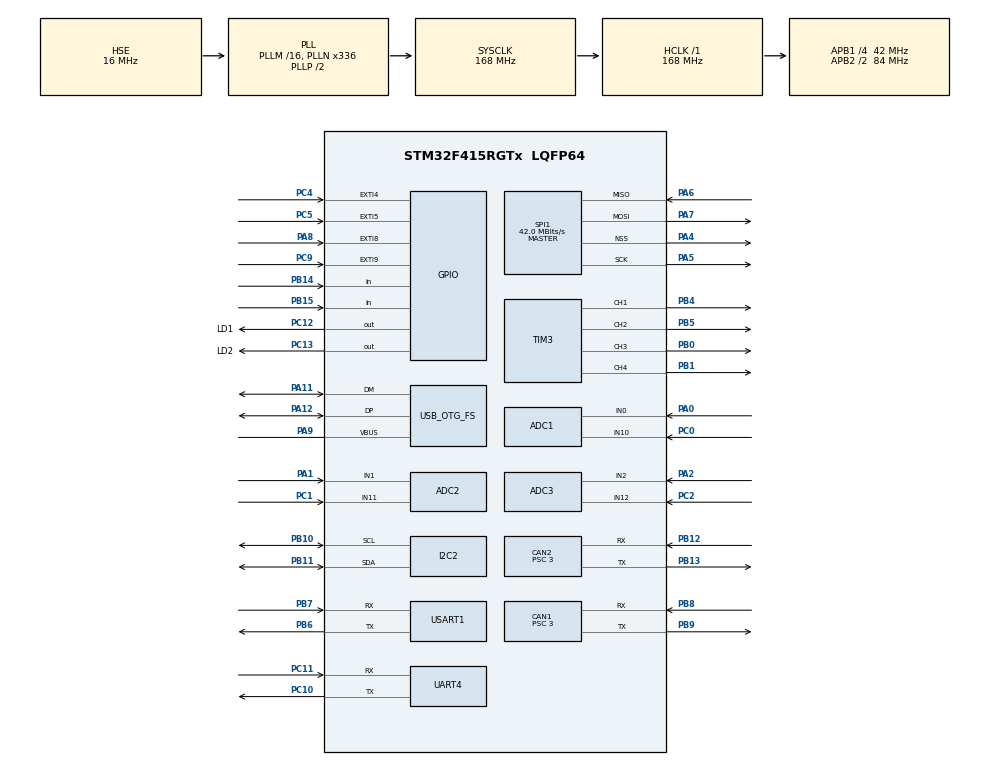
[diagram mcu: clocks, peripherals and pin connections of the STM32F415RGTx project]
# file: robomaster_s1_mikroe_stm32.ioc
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ADC1.Channel-0\#ChannelRegularConversion=ADC_CHANNEL_10
ADC1.ClockPrescaler=ADC_CLOCK_SYNC_PCLK_DIV4
ADC1.NbrOfConversionFlag=1
ADC1.Rank-0\#ChannelRegularConversion=1
ADC1.SamplingTime-0\#ChannelRegularConversion=ADC_SAMPLETIME_3CYCLES
ADC1.master=1
ADC2.Channel-0\#ChannelRegularConversion=ADC_CHANNEL_1
ADC2.ClockPrescaler=ADC_CLOCK_SYNC_PCLK_DIV4
ADC2.NbrOfConversionFlag=1
ADC2.Rank-0\#ChannelRegularConversion=1
ADC2.SamplingTime-0\#ChannelRegularConversion=ADC_SAMPLETIME_3CYCLES
ADC3.Channel-0\#ChannelRegularConversion=ADC_CHANNEL_2
ADC3.ClockPrescaler=ADC_CLOCK_SYNC_PCLK_DIV4
ADC3.NbrOfConversionFlag=1
ADC3.Rank-0\#ChannelRegularConversion=1
ADC3.SamplingTime-0\#ChannelRegularConversion=ADC_SAMPLETIME_3CYCLES
CAN1.BS1=CAN_BS1_11TQ
CAN1.BS2=CAN_BS2_2TQ
CAN1.CalculateTimeQuantum=71.42857142857143
CAN1.Prescaler=3
CAN2.BS1=CAN_BS1_13TQ
CAN2.BS2=CAN_BS2_2TQ
CAN2.CalculateTimeQuantum=71.42857142857143
CAN2.Prescaler=3
Mcu.Family=STM32F4
Mcu.Name=STM32F415RGTx
Mcu.Package=LQFP64
NVIC.CAN1_RX0_IRQn=true\:0\:0\:false\:false\:true\:true\:true
NVIC.CAN1_RX1_IRQn=true\:0\:0\:false\:false\:true\:true\:true
NVIC.CAN1_SCE_IRQn=true\:0\:0\:false\:false\:true\:true\:true
NVIC.CAN1_TX_IRQn=true\:0\:0\:false\:false\:true\:true\:true
NVIC.CAN2_RX0_IRQn=true\:0\:0\:false\:false\:true\:true\:true
NVIC.CAN2_RX1_IRQn=true\:0\:0\:false\:false\:true\:true\:true
NVIC.CAN2_SCE_IRQn=true\:0\:0\:false\:false\:true\:true\:true
NVIC.CAN2_TX_IRQn=true\:0\:0\:false\:false\:true\:true\:true
NVIC.OTG_FS_IRQn=true\:0\:0\:false\:false\:true\:false\:true
NVIC.PriorityGroup=NVIC_PRIORITYGROUP_4
NVIC.TIM1_UP_TIM10_IRQn=true\:0\:0\:false\:false\:true\:false\:true
NVIC.TIM2_IRQn=true\:0\:0\:false\:false\:true\:true\:true
NVIC.TIM3_IRQn=true\:0\:0\:false\:false\:true\:true\:true
NVIC.TimeBase=TIM1_UP_TIM10_IRQn
NVIC.TimeBaseIP=TIM1
PA0-WKUP.Signal=ADCx_IN0
PA1.Signal=ADCx_IN1
PA10.Signal=USB_OTG_FS_ID
PA11.Mode=Device_Only
PA11.Signal=USB_OTG_FS_DM
PA12.Mode=Device_Only
PA12.Signal=USB_OTG_FS_DP
PA13.Mode=JTAG_4_pins
PA13.Signal=SYS_JTMS-SWDIO
PA14.Mode=JTAG_4_pins
PA14.Signal=SYS_JTCK-SWCLK
PA15.Mode=JTAG_4_pins
PA15.Signal=SYS_JTDI
PA2.Signal=ADCx_IN2
PA4.Mode=NSS_Signal_Hard_Output
PA4.Signal=SPI1_NSS
PA5.Mode=Full_Duplex_Master
PA5.Signal=SPI1_SCK
PA6.Mode=Full_Duplex_Master
PA6.Signal=SPI1_MISO
PA7.Mode=Full_Duplex_Master
PA7.Signal=SPI1_MOSI
PA8.Signal=GPXTI8
PA9.Mode=Activate_VBUS
PA9.Signal=USB_OTG_FS_VBUS
PB0.Signal=S_TIM3_CH3
PB1.Signal=S_TIM3_CH4
PB10.Mode=I2C
PB10.Signal=I2C2_SCL
PB11.Mode=I2C
PB11.Signal=I2C2_SDA
PB12.Mode=Slave
PB12.Signal=CAN2_RX
PB13.Mode=Slave
PB13.Signal=CAN2_TX
PB14.Signal=GPIO_Input
PB15.Signal=GPIO_Input
PB3.Mode=JTAG_4_pins
PB3.Signal=SYS_JTDO-SWO
PB4.Signal=S_TIM3_CH1
PB5.Signal=S_TIM3_CH2
PB6.Mode=Asynchronous
PB6.Signal=USART1_TX
PB7.Mode=Asynchronous
PB7.Signal=USART1_RX
PB8.Mode=Master
PB8.Signal=CAN1_RX
PB9.Mode=Master
PB9.Signal=CAN1_TX
PC0.Signal=ADCx_IN10
PC1.Signal=ADCx_IN11
PC10.Mode=Asynchronous
PC10.Signal=UART4_TX
PC11.Mode=Asynchronous
PC11.Signal=UART4_RX
PC12.GPIO_Label=LD1
PC12.Signal=GPIO_Output
PC13-ANTI_TAMP.GPIO_Label=LD2
PC13-ANTI_TAMP.Signal=GPIO_Output
PC14-OSC32_IN.Mode=LSE-External-Oscillator
PC14-OSC32_IN.Signal=RCC_OSC32_IN
PC15-OSC32_OUT.Mode=LSE-External-Oscillator
PC15-OSC32_OUT.Signal=RCC_OSC32_OUT
PC2.Signal=ADCx_IN12
PC4.Signal=GPXTI4
PC5.Signal=GPXTI5
PC9.Signal=GPXTI9
PH0-OSC_IN.Mode=HSE-External-Oscillator
PH0-OSC_IN.Signal=RCC_OSC_IN
PH1-OSC_OUT.Mode=HSE-External-Oscillator
PH1-OSC_OUT.Signal=RCC_OSC_OUT
ProjectManager.HeapSize=0x200
ProjectManager.StackSize=0x400
ProjectManager.TargetToolchain=STM32CubeIDE
RCC.48MHZClocksFreq_Value=48000000
RCC.AHBFreq_Value=168000000
RCC.APB1CLKDivider=RCC_HCLK_DIV4
RCC.APB1Freq_Value=42000000
RCC.APB1TimFreq_Value=84000000
RCC.APB2CLKDivider=RCC_HCLK_DIV2
RCC.APB2Freq_Value=84000000
RCC.APB2TimFreq_Value=168000000
RCC.CortexFreq_Value=168000000
RCC.HCLKFreq_Value=168000000
RCC.HSE_VALUE=16000000
RCC.HSI_VALUE=16000000
RCC.PLLN=336
RCC.PLLQ=7
RCC.SYSCLKFreq_VALUE=168000000
RCC.SYSCLKSource=RCC_SYSCLKSOURCE_PLLCLK
RCC.VCOOutputFreq_Value=336000000
SH.ADCx_IN0.0=ADC1_IN0,IN0
SH.ADCx_IN1.0=ADC2_IN1,IN1
SH.ADCx_IN10.0=ADC1_IN10,IN10
SH.ADCx_IN11.0=ADC2_IN11,IN11
SH.ADCx_IN12.0=ADC3_IN12,IN12
SH.ADCx_IN2.0=ADC3_IN2,IN2
SH.S_TIM3_CH1.0=TIM3_CH1,PWM Generation1 CH1
SH.S_TIM3_CH2.0=TIM3_CH2,PWM Generation2 CH2
SH.S_TIM3_CH3.0=TIM3_CH3,PWM Generation3 CH3
SH.S_TIM3_CH4.0=TIM3_CH4,PWM Generation4 CH4
SPI1.CalculateBaudRate=42.0 MBits/s
SPI1.Direction=SPI_DIRECTION_2LINES
SPI1.Mode=SPI_MODE_MASTER
SPI1.VirtualNSS=VM_NSSHARD
SPI1.VirtualType=VM_MASTER
TIM2.Period=10000
TIM2.Prescaler=84-1
TIM3.Channel-PWM\ Generation1\ CH1=TIM_CHANNEL_1
TIM3.Channel-PWM\ Generation2\ CH2=TIM_CHANNEL_2
TIM3.Channel-PWM\ Generation3\ CH3=TIM_CHANNEL_3
TIM3.Channel-PWM\ Generation4\ CH4=TIM_CHANNEL_4
UART4.VirtualMode=Asynchronous
USART1.VirtualMode=VM_ASYNC
USB_DEVICE.CLASS_NAME_FS=CDC
USB_DEVICE.VirtualMode-CDC_FS=Cdc
USB_DEVICE.VirtualModeFS=Cdc_FS
USB_OTG_FS.VirtualMode=Device_Only
VP_SYS_VS_tim1.Mode=TIM1
VP_TIM2_VS_ClockSourceINT.Mode=Internal
VP_TIM3_VS_ClockSourceINT.Mode=Internal
VP_USB_DEVICE_VS_USB_DEVICE_CDC_FS.Mode=CDC_FS
board=custom

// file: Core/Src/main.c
/* USER CODE BEGIN Header */
/**
  ******************************************************************************
  * @file           : main.c
  * @brief          : Main program body
  ******************************************************************************
  * @attention
  *
  * <h2><center>&copy; Copyright (c) 2019 STMicroelectronics.
  * All rights reserved.</center></h2>
  *
  * This software component is licensed by ST under BSD 3-Clause license,
  * the "License"38400; You may not use this file except in compliance with the
  * License. You may obtain a copy of the License at:
  *                        opensource.org/licenses/BSD-3-Clause
  *
  ******************************************************************************
  */
/* USER CODE END Header */

#include "main.h"
#include "usb_device.h"

/* USER CODE BEGIN Includes */
#include "string.h"
#include "robomaster_s1.h"
#include "usbd_cdc_if.h"

/* USER CODE END Includes */

/* USER CODE BEGIN PD */
#define COMMAND_LIST_SIZE 38
/* USER CODE END PD */

/* USER CODE BEGIN PM */
typedef union float_uint8 {
  float float_data;
  uint8_t uint8_data[4];
} float_uint8;
/* USER CODE END PM */

ADC_HandleTypeDef hadc1;
ADC_HandleTypeDef hadc2;
ADC_HandleTypeDef hadc3;

CAN_HandleTypeDef hcan1;
CAN_HandleTypeDef hcan2;

I2C_HandleTypeDef hi2c2;

SPI_HandleTypeDef hspi1;

TIM_HandleTypeDef htim2;
TIM_HandleTypeDef htim3;

UART_HandleTypeDef huart4;
UART_HandleTypeDef huart1;

/* USER CODE BEGIN PV */
const uint8_t can_command_list[COMMAND_LIST_SIZE][0x4B] = {
#include "command_list.csv"
};
//const uint8_t init_command[] = {
//#include "lab201.csv"
//};
volatile uint16_t command_counter[COMMAND_LIST_SIZE];
volatile uint16_t counter_led;
volatile uint16_t counter_blaster;
volatile uint16_t counter_lose;
volatile uint16_t counter_mode;

volatile CANRxMsg rx_msg_buffer[BUFFER_SIZE];
volatile int buffer_rp;
volatile int buffer_wp;

volatile uint8_t can_command_buffer[BUFFER_SIZE];
volatile int can_command_buffer_rp;
volatile int can_command_buffer_wp;

extern twist command_twist;
extern int command_blaster;
extern int command_lose;
extern led command_led;

extern uint8_t usb_rBuf[];
extern int usb_rBuf_wp;
extern int usb_rBuf_rp;

// Timer
volatile uint8_t timer10sec_flag;
volatile uint32_t timer10sec_counter;
volatile uint8_t timer1sec_flag;
volatile uint32_t timer1sec_counter;
volatile uint8_t timer10msec_flag;
volatile uint32_t timer10msec_counter;
volatile uint8_t timer100msec_flag;
volatile uint32_t timer100msec_counter;
volatile uint8_t timer1msec_flag;

volatile int initial_task_flag;

/* USER CODE END PV */

void SystemClock_Config(void);
static void MX_GPIO_Init(void);
static void MX_ADC1_Init(void);
static void MX_ADC2_Init(void);
static void MX_ADC3_Init(void);
static void MX_CAN1_Init(void);
static void MX_CAN2_Init(void);
static void MX_I2C2_Init(void);
static void MX_SPI1_Init(void);
static void MX_TIM3_Init(void);
static void MX_UART4_Init(void);
static void MX_USART1_UART_Init(void);
static void MX_TIM2_Init(void);
/* USER CODE BEGIN PFP */
static void CAN_FilterConfig(void);
extern void sendUdpData(uint8_t id, uint8_t *send_data, uint8_t send_data_size);
extern void startUdp(uint8_t *ip_addr);
extern int parseCanData(uint8_t id, uint8_t *in_data, uint8_t in_data_size, uint8_t out_data[], uint8_t *out_data_size);
extern int parseUsbData(uint8_t *in_data, uint8_t in_data_size, uint8_t out_data[], uint8_t *out_data_size);

extern void appendCRC8CheckSum(uint8_t *pchMessage, uint32_t dwLength);
extern void appendCRC16CheckSum(uint8_t *pchMessage, uint32_t dwLength);

/* USER CODE END PFP */

/* USER CODE BEGIN 0 */

void set_can_command(uint8_t command_no)
{
  uint8_t command_length = can_command_list[command_no][3];
  uint8_t header_command[0xFF];
  uint8_t idx = 0;
  for (int i = 2; i < command_length; i++)
  {
    header_command[idx] = can_command_list[command_no][i];

    if (i == 5 && can_command_list[command_no][5] == 0xFF)
    {
      appendCRC8CheckSum(header_command, 4);
    }
    if (i == 8 && can_command_list[command_no][8] == 0xFF)
    {
      header_command[idx] = command_counter[command_no] & 0xFF;
    }
    if (i == 9 && can_command_list[command_no][9] == 0xFF)
    {
      header_command[idx] = (command_counter[command_no] >> 8) & 0xFF;
    }
    command_counter[command_no]++;

    idx++;
  }
  appendCRC16CheckSum(header_command, command_length);
  for (int i = 0; i < command_length; i++)
  {
    can_command_buffer[can_command_buffer_wp] = header_command[i];
    can_command_buffer_wp++;
    can_command_buffer_wp %= BUFFER_SIZE;
  }
}
/* USER CODE END 0 */

int main(void)
{

  /* MCU Configuration--------------------------------------------------------*/

  /* Reset of all peripherals, Initializes the Flash interface and the Systick. */
  HAL_Init();

  /* Configure the system clock */
  SystemClock_Config();

  /* Initialize all configured peripherals */
  MX_GPIO_Init();
  MX_ADC1_Init();
  MX_ADC2_Init();
  MX_ADC3_Init();
  MX_CAN1_Init();
  MX_CAN2_Init();
  MX_I2C2_Init();
  MX_SPI1_Init();
  MX_TIM3_Init();
  MX_UART4_Init();
  MX_USART1_UART_Init();
  MX_USB_DEVICE_Init();
  MX_TIM2_Init();
  /* USER CODE BEGIN 2 */

  /* Configure the CAN peripheral */
  CAN_FilterConfig();

  if (HAL_CAN_Start(&hcan1) != HAL_OK)
  {
    /* Start Error */
    Error_Handler();
  }

  if (HAL_CAN_ActivateNotification(&hcan1, CAN_IT_RX_FIFO0_MSG_PENDING) != HAL_OK)
  {
    /* Notification Error */
    Error_Handler();
  }

  if (HAL_CAN_ActivateNotification(&hcan1, CAN_IT_RX_FIFO0_FULL) != HAL_OK)
  {
    /* Notification Error */
    Error_Handler();
  }

  /* USER CODE END 2 */

  /* Infinite loop */
  /* USER CODE BEGIN WHILE */

  uint8_t received_data[255];
  uint8_t received_data_size = 0;
  int i = 0;
  int ret = 0;

  double gimbal_base_yaw_angle;
  double gimbal_map_yaw_angle;
  double gimbal_base_pitch_angle;
  double gimbal_map_pitch_angle;

  buffer_rp = 0;
  buffer_wp = 0;
  can_command_buffer_rp = 0;
  can_command_buffer_wp = 0;

  usb_rBuf_wp = 0;
  usb_rBuf_rp = 0;

  counter_blaster = 0;
  counter_led = 0;

  uint8_t usb_command_counter[10];

  uint32_t initial_command_send_num = 0;
  uint8_t initial_command_flag = 0;

  timer10sec_flag = 0;
  timer10sec_counter = 0;
  timer1sec_flag = 0;
  timer1sec_counter = 0;
  timer100msec_flag = 0;
  timer100msec_counter = 0;
  timer10msec_flag = 0;
  timer10msec_counter = 0;

  HAL_TIM_Base_Start_IT(&htim2);

  while (1)
  {
    // Initial Command 10sec after boot
    if (initial_task_flag < 3)
    {
      if (timer1msec_flag == 1 && initial_command_flag == 0)
      {
    	timer1msec_flag = 0;

    	// TEST CODE
    	/*for(int j= 0; j < 3;j++)
    	{
        if(init_command[initial_command_send_num] == 0x55 && initial_command_flag == 0)
        {
            if(init_command[initial_command_send_num+4] == 0x09 && init_command[initial_command_send_num+5] == 0x03 && init_command[initial_command_send_num+1] != 0x0E)
            {
        	uint8_t msg_num = init_command[initial_command_send_num+1];
        	for(int i = 0; i < msg_num; i++)
        	{
                can_command_buffer[can_command_buffer_wp] = init_command[initial_command_send_num];
                can_command_buffer_wp++;
                can_command_buffer_wp %= BUFFER_SIZE;
                initial_command_send_num++;
        	}
            }else{
            	initial_command_send_num+=init_command[initial_command_send_num+1];
            }
        }
        if(initial_command_send_num >= sizeof(init_command)){
          initial_command_flag = 1;
        }
    	}*/
    	initial_command_flag = 1;
      }

      if (timer100msec_flag == 1 && initial_command_flag == 1 && initial_task_flag == 0)
      {
        initial_task_flag = 1;
        timer100msec_flag = 0;

        //boot command
        for (int command_no = 26; command_no < 35; command_no++)
        {
          uint8_t header_command[0xFF];
          uint8_t idx = 0;
          uint8_t command_length = can_command_list[command_no][3];
          for (i = 2; i < command_length; i++)
          {
            header_command[idx] = can_command_list[command_no][i];

            if (i == 5 && can_command_list[command_no][5] == 0xFF)
            {
              appendCRC8CheckSum(header_command, 4);
            }

            idx++;
          }
          appendCRC16CheckSum(header_command, command_length);
          for (int i = 0; i < command_length; i++)
          {
            can_command_buffer[can_command_buffer_wp] = header_command[i];
            can_command_buffer_wp++;
            can_command_buffer_wp %= BUFFER_SIZE;
          }
        }
      }

      if (timer100msec_flag == 1 && initial_command_flag == 1 && initial_task_flag == 1)
      {
        initial_task_flag = 2;
        timer100msec_flag = 0;

        // LED Flash
        {
          uint8_t command_no = 12;
          uint8_t header_command[0xFF];
          uint8_t idx = 0;
          uint8_t command_length = can_command_list[command_no][3];
          for (i = 2; i < command_length; i++)
          {
            header_command[idx] = can_command_list[command_no][i];

            if (i == 5 && can_command_list[command_no][5] == 0xFF)
            {
              appendCRC8CheckSum(header_command, 4);
            }
            if (i == 8 && can_command_list[command_no][8] == 0xFF)
            {
              header_command[idx] = counter_led & 0xFF;
            }
            if (i == 9 && can_command_list[command_no][9] == 0xFF)
            {
              header_command[idx] = (counter_led >> 8) & 0xFF;
            }
            idx++;
          }
          appendCRC16CheckSum(header_command, command_length);

          for (int i = 0; i < command_length; i++)
          {
            can_command_buffer[can_command_buffer_wp] = header_command[i];
            can_command_buffer_wp++;
            can_command_buffer_wp %= BUFFER_SIZE;
          }

          counter_led++;
        }

        // FAST MODE
        {
          uint8_t command_no = 22;
          uint8_t header_command[0xFF];
          uint8_t idx = 0;
          uint8_t command_length = can_command_list[command_no][3];
          for (i = 2; i < command_length; i++)
          {
            header_command[idx] = can_command_list[command_no][i];

            if (i == 5 && can_command_list[command_no][5] == 0xFF)
            {
              appendCRC8CheckSum(header_command, 4);
            }
            if (i == 8 && can_command_list[command_no][8] == 0xFF)
            {
              header_command[idx] = counter_mode & 0xFF;
            }
            if (i == 9 && can_command_list[command_no][9] == 0xFF)
            {
              header_command[idx] = (counter_mode >> 8) & 0xFF;
            }
            idx++;
          }
          appendCRC16CheckSum(header_command, command_length);

          for (int i = 0; i < command_length; i++)
          {
            can_command_buffer[can_command_buffer_wp] = header_command[i];
            can_command_buffer_wp++;
            can_command_buffer_wp %= BUFFER_SIZE;
          }

          counter_mode++;
        }
      }

      if (timer100msec_flag == 1 && initial_command_flag == 1 && initial_task_flag == 2)
      {
        initial_task_flag = 3;
        timer100msec_flag = 0;

        // Enable Odometry Output
        //for (int command_no = 35; command_no < 40; command_no++)
        {
        	int command_no = 35;
            uint8_t header_command[0xFF];
            uint8_t idx = 0;
            uint8_t command_length = can_command_list[command_no][3];
            for (i = 2; i < command_length; i++)
            {
              header_command[idx] = can_command_list[command_no][i];

              if (i == 5 && can_command_list[command_no][5] == 0xFF)
              {
                appendCRC8CheckSum(header_command, 4);
              }

              idx++;
            }
            appendCRC16CheckSum(header_command, command_length);
            for (int i = 0; i < command_length; i++)
            {
              can_command_buffer[can_command_buffer_wp] = header_command[i];
              can_command_buffer_wp++;
              can_command_buffer_wp %= BUFFER_SIZE;
            }
        }
      }
    }

    // After Initialize Command
    if (initial_task_flag == 3)
    {

      // 10msec TASK
      if (timer10msec_flag)
      {
        timer10msec_flag = 0;

        if (command_lose == 1) // Lose
        {
          command_lose = 0;
          // Lose command
          int command_no = 36;

          uint8_t header_command[0xFF];
          uint8_t idx = 0;
          uint8_t command_length = can_command_list[command_no][3];
          for (i = 2; i < command_length; i++)
          {
            header_command[idx] = can_command_list[command_no][i];

            if (i == 5 && can_command_list[command_no][5] == 0xFF)
            {
              appendCRC8CheckSum(header_command, 4);
            }
            if (i == 8 && can_command_list[command_no][8] == 0xFF)
            {
              header_command[idx] = counter_lose & 0xFF;
            }
            if (i == 9 && can_command_list[command_no][9] == 0xFF)
            {
              header_command[idx] = (counter_lose >> 8) & 0xFF;
            }

            idx++;
          }
          appendCRC16CheckSum(header_command, command_length);

          for (int i = 0; i < command_length; i++)
          {
            can_command_buffer[can_command_buffer_wp] = header_command[i];
            can_command_buffer_wp++;
            can_command_buffer_wp %= BUFFER_SIZE;
          }

          counter_lose++;
        }

        if (command_lose == 2) // Recoover
        {
          command_lose = 0;
          // Recover command
          int command_no = 37;

          uint8_t header_command[0xFF];
          uint8_t idx = 0;
          uint8_t command_length = can_command_list[command_no][3];
          for (i = 2; i < command_length; i++)
          {
            header_command[idx] = can_command_list[command_no][i];

            if (i == 5 && can_command_list[command_no][5] == 0xFF)
            {
              appendCRC8CheckSum(header_command, 4);
            }
            if (i == 8 && can_command_list[command_no][8] == 0xFF)
            {
              header_command[idx] = counter_lose & 0xFF;
            }
            if (i == 9 && can_command_list[command_no][9] == 0xFF)
            {
              header_command[idx] = (counter_lose >> 8) & 0xFF;
            }

            idx++;
          }
          appendCRC16CheckSum(header_command, command_length);

          for (int i = 0; i < command_length; i++)
          {
            can_command_buffer[can_command_buffer_wp] = header_command[i];
            can_command_buffer_wp++;
            can_command_buffer_wp %= BUFFER_SIZE;
          }

          counter_lose++;
        }

        // LED Command
        if (command_led.enable)
        {
          command_led.enable = 0;
          // LED command
          for (int command_no = 9; command_no < 11; command_no++)
          {
            uint8_t header_command[0xFF];
            uint8_t idx = 0;
            uint8_t command_length = can_command_list[command_no][3];
            for (i = 2; i < command_length; i++)
            {
              header_command[idx] = can_command_list[command_no][i];

              if (i == 5 && can_command_list[command_no][5] == 0xFF)
              {
                appendCRC8CheckSum(header_command, 4);
              }
              if (i == 8 && can_command_list[command_no][8] == 0xFF)
              {
                header_command[idx] = counter_led & 0xFF;
              }
              if (i == 9 && can_command_list[command_no][9] == 0xFF)
              {
                header_command[idx] = (counter_led >> 8) & 0xFF;
              }

              // RED
              if (i == 16)
              {
                header_command[idx] = command_led.red;
              }

              // GREEN
              if (i == 17)
              {
                header_command[idx] = command_led.green;
              }

              // BLUE
              if (i == 18)
              {
                header_command[idx] = command_led.blue;
              }

              idx++;
            }
            appendCRC16CheckSum(header_command, command_length);

            for (int i = 0; i < command_length; i++)
            {
              can_command_buffer[can_command_buffer_wp] = header_command[i];
              can_command_buffer_wp++;
              can_command_buffer_wp %= BUFFER_SIZE;
            }

            counter_led++;
          }
        }

        // Blaster Command
        if (command_blaster)
        {
          command_blaster = 0;

          // Blaster
          for (int command_no = 7; command_no < 9; command_no++)
          {
            uint8_t header_command[0xFF];
            uint8_t idx = 0;
            uint8_t command_length = can_command_list[command_no][3];
            for (i = 2; i < command_length; i++)
            {
              header_command[idx] = can_command_list[command_no][i];

              if (i == 5 && can_command_list[command_no][5] == 0xFF)
              {
                appendCRC8CheckSum(header_command, 4);
              }
              if (i == 8 && can_command_list[command_no][8] == 0xFF)
              {
                header_command[idx] = counter_blaster & 0xFF;
              }
              if (i == 9 && can_command_list[command_no][9] == 0xFF)
              {
                header_command[idx] = (counter_blaster >> 8) & 0xFF;
              }

              idx++;
            }
            appendCRC16CheckSum(header_command, command_length);

            for (int i = 0; i < command_length; i++)
            {
              can_command_buffer[can_command_buffer_wp] = header_command[i];
              can_command_buffer_wp++;
              can_command_buffer_wp %= BUFFER_SIZE;
            }

            counter_blaster++;
          }
        }

        // Twist Command
        {
          uint8_t command_no = 5;
          uint8_t command_length = can_command_list[command_no][3];
          uint8_t header_command[0xFF];
          uint8_t idx = 0;

          // Linear X and Y
          uint16_t linear_x = 256 * command_twist.linear.x + 1024;
          uint16_t linear_y = 256 * command_twist.linear.y + 1024;
          int16_t angular_z = 256 * command_twist.angular.z + 1024;

          for (i = 2; i < command_length; i++)
          {
            header_command[idx] = can_command_list[command_no][i];

            if (i == 5 && can_command_list[command_no][5] == 0xFF)
            {
              appendCRC8CheckSum(header_command, 4);
            }
            if (i == 8 && can_command_list[command_no][8] == 0xFF)
            {
              header_command[idx] = command_counter[command_no] & 0xFF;
            }
            if (i == 9 && can_command_list[command_no][9] == 0xFF)
            {
              header_command[idx] = (command_counter[command_no] >> 8) & 0xFF;
            }
            command_counter[i]++;

            switch (i)
            {
            case 15:
              header_command[idx] = can_command_list[command_no][i] & 0xC0;
              header_command[idx] |= (linear_x >> 5) & 0x3F;
              break;
            case 14:
              header_command[idx] = linear_x << 3;
              header_command[idx] |= (linear_y >> 8) & 0x07;
              break;
            case 13:
              header_command[idx] = linear_y & 0xFF;
              break;
            case 19:
              header_command[idx] = (angular_z >> 4) & 0xFF; //0x40;
              break;
            case 18:
              header_command[idx] = (angular_z << 4) | 0x08; //0x08;
              break;
            case 20:
              header_command[idx] = 0x00;
              break;
            case 21:
              header_command[idx] = 0x02 | ((angular_z << 2) & 0xFF);
              break;
            case 22:
              header_command[idx] = (angular_z >> 6) & 0xFF; // 0x10;
              break;
            case 23:
              header_command[idx] = 0x04;
              break;
            case 24:
              header_command[idx] = 0x0C; // Enable Flag 4:x-y 8:yaw 0x0c
              break;
            case 25:
              header_command[idx] = 0x00;
              break;
            case 26:
              header_command[idx] = 0x04;
              break;
            default:
              break;
            }

            idx++;
          }
          appendCRC16CheckSum(header_command, command_length);
          for (int i = 0; i < command_length; i++)
          {
            can_command_buffer[can_command_buffer_wp] = header_command[i];
            can_command_buffer_wp++;
            can_command_buffer_wp %= BUFFER_SIZE;
          }
        }

        // Gimbal Command
        {
          uint8_t command_no = 4;
          uint8_t command_length = can_command_list[command_no][3];
          uint8_t header_command[0xFF];
          uint8_t idx = 0;

          // Angular X and Y
          int16_t angular_y = -1024 * command_twist.angular.y;
          int16_t angular_z = -1024 * command_twist.angular.z;

          for (i = 2; i < command_length; i++)
          {
            header_command[idx] = can_command_list[command_no][i];

            if (i == 5 && can_command_list[command_no][5] == 0xFF)
            {
              appendCRC8CheckSum(header_command, 4);
            }
            if (i == 8 && can_command_list[command_no][8] == 0xFF)
            {
              header_command[idx] = command_counter[command_no] & 0xFF;
            }
            if (i == 9 && can_command_list[command_no][9] == 0xFF)
            {
              header_command[idx] = (command_counter[command_no] >> 8) & 0xFF;
            }
            command_counter[command_no]++;

            switch (i)
            {
            case 16:
              header_command[idx] = (angular_y >> 8) & 0xFF;
              break;
            case 15:
              header_command[idx] = angular_y & 0xFF;
              break;
            case 18:
              header_command[idx] = (angular_z >> 8) & 0xFF;
              break;
            case 17:
              header_command[idx] = angular_z & 0xFF;
              break;
            default:
              break;
            }

            idx++;
          }
          appendCRC16CheckSum(header_command, command_length);
          for (int i = 0; i < command_length; i++)
          {
            can_command_buffer[can_command_buffer_wp] = header_command[i];
            can_command_buffer_wp++;
            can_command_buffer_wp %= BUFFER_SIZE;
          }
        }

        // 10msec Task
        for (i = 0; i < COMMAND_LIST_SIZE; i++)
        {
          if (can_command_list[i][1] == 1 && i != 5 && i != 4)
          {
            set_can_command((uint8_t)i);
          }
        }
      }

      // 100msec TASK
      if (timer100msec_flag)
      {
        timer100msec_flag = 0;

        for (i = 0; i < COMMAND_LIST_SIZE; i++)
        {
          if (can_command_list[i][1] == 10)
          {
            set_can_command((uint8_t)i);
          }
        }
      }

      // 1sec TASK
      if (timer1sec_flag)
      {
        timer1sec_flag = 0;

        for (i = 0; i < COMMAND_LIST_SIZE; i++)
        {
          if (can_command_list[i][1] == 100)
          {
            set_can_command((uint8_t)i);
          }
        }
      }

      // 10sec TASK
      if (timer10sec_flag)
      {
        timer10sec_flag = 0;

      }
    }

    // Receive from RoboMaster S1
    while (buffer_rp != buffer_wp)
    {
      CANRxMsg msg;
      msg = rx_msg_buffer[buffer_rp];
      ret = parseCanData(msg.can_id, msg.data, msg.dlc, received_data, &received_data_size);
      buffer_rp++;
      buffer_rp %= BUFFER_SIZE;
      if (ret)
      {
        float_uint8 base_odom_yaw_raw[5];
        float_uint8 quaternion[5];
        uint32_t base_odom_yaw;

        uint8_t usb_send_data[255];
        usb_send_data[0] = 0x55;
        usb_send_data[1] = 0x00;
        usb_send_data[2] = 0x04;
        usb_send_data[3] = 0x00;
        //appendCRC8CheckSum(usb_send_data, 4);
        usb_send_data[4] = 0x00; // Command Number
        //appendCRC16CheckSum(usb_send_data, 19);

        switch (msg.can_id)
        {

        // Motion Controller Output Data
        case ID_0x202:
        {
          if (received_data[1] == 0x3D && received_data[4] == 0x03 && received_data[5] == 0x09)
          {
            int flag = (received_data[24] >> 7) & 0x01;
            base_odom_yaw = ((((uint16_t)received_data[24]) << 8) | (((uint16_t)received_data[23]) << 0));
            if (flag == 0)
            {
              int shift = (0x86 - ((received_data[24] << 1) | (received_data[23] >> 7)));
              base_odom_yaw = ((1 << 7) | received_data[23]) >> shift;
              base_odom_yaw *= -1;
            }
            else
            {
              int shift = (0x186 - ((received_data[24] << 1) | (received_data[23] >> 7)));
              base_odom_yaw = ((1 << 7) | received_data[23]) >> shift;
            }
            if (received_data[24] == 0 && received_data[23] == 0)
            {
              base_odom_yaw = 0;
            }

            // unknown angle filtered value
            base_odom_yaw_raw[0].uint8_data[0] = received_data[35];
            base_odom_yaw_raw[0].uint8_data[1] = received_data[36];
            base_odom_yaw_raw[0].uint8_data[2] = received_data[37];
            base_odom_yaw_raw[0].uint8_data[3] = received_data[38];
            base_odom_yaw_raw[1].uint8_data[0] = received_data[39];
            base_odom_yaw_raw[1].uint8_data[1] = received_data[40];
            base_odom_yaw_raw[1].uint8_data[2] = received_data[41];
            base_odom_yaw_raw[1].uint8_data[3] = received_data[42];
            base_odom_yaw_raw[2].uint8_data[0] = received_data[43];
            base_odom_yaw_raw[2].uint8_data[1] = received_data[44];
            base_odom_yaw_raw[2].uint8_data[2] = received_data[45];
            base_odom_yaw_raw[2].uint8_data[3] = received_data[46];
            base_odom_yaw_raw[3].uint8_data[0] = received_data[47];
            base_odom_yaw_raw[3].uint8_data[1] = received_data[48];
            base_odom_yaw_raw[3].uint8_data[2] = received_data[49];
            base_odom_yaw_raw[3].uint8_data[3] = received_data[50];
            base_odom_yaw_raw[4].uint8_data[0] = received_data[51];
            base_odom_yaw_raw[4].uint8_data[1] = received_data[52];
            base_odom_yaw_raw[4].uint8_data[2] = received_data[53];
            base_odom_yaw_raw[4].uint8_data[3] = received_data[54];

            // USB send data
            usb_send_data[1] = 32;
            appendCRC8CheckSum(usb_send_data, 4);
            usb_send_data[4] = 0x01; // Command Number
            usb_send_data[5] = usb_command_counter[usb_send_data[4] - 1]; // Command Counter
            usb_command_counter[usb_send_data[4] - 1]++;
            float_uint8 base_odom_yaw_float_uint8;
            base_odom_yaw_float_uint8.float_data = (int32_t)base_odom_yaw;
            usb_send_data[6] = base_odom_yaw_float_uint8.uint8_data[0];
            usb_send_data[7] = base_odom_yaw_float_uint8.uint8_data[1];
            usb_send_data[8] = base_odom_yaw_float_uint8.uint8_data[2];
            usb_send_data[9] = base_odom_yaw_float_uint8.uint8_data[3];
            int idx = 10;
            for(int i=35;i<55;i++)
            {
            	usb_send_data[idx] = received_data[i];
            	idx++;
            }
            usb_send_data[30] = 0;
            usb_send_data[31] = 0;
            appendCRC16CheckSum(usb_send_data, 32);

          }

          if (received_data[1] == 0x31 && received_data[4] == 0x03 && received_data[5] == 0x04)
          {
            // ~20 is unknown counter and state
            quaternion[0].uint8_data[0] = received_data[21];
            quaternion[0].uint8_data[1] = received_data[22];
            quaternion[0].uint8_data[2] = received_data[23];
            quaternion[0].uint8_data[3] = received_data[24];
            quaternion[1].uint8_data[0] = received_data[25];
            quaternion[1].uint8_data[1] = received_data[26];
            quaternion[1].uint8_data[2] = received_data[27];
            quaternion[1].uint8_data[3] = received_data[28];
            quaternion[2].uint8_data[0] = received_data[29];
            quaternion[2].uint8_data[1] = received_data[30];
            quaternion[2].uint8_data[2] = received_data[31];
            quaternion[2].uint8_data[3] = received_data[32];
            quaternion[3].uint8_data[0] = received_data[33];
            quaternion[3].uint8_data[1] = received_data[34];
            quaternion[3].uint8_data[2] = received_data[35];
            quaternion[3].uint8_data[3] = received_data[36];

            int32_t int_data1;
            uint32_t uint32_data = received_data[40];
            uint32_data = (uint32_data << 8) | received_data[39];
            uint32_data = (uint32_data << 8) | received_data[38];
            uint32_data = (uint32_data << 8) | received_data[37];
            int_data1 = (int32_t)uint32_data;

            int32_t int_data2;
            uint32_data = received_data[44];
            uint32_data = (uint32_data << 8) | received_data[43];
            uint32_data = (uint32_data << 8) | received_data[42];
            uint32_data = (uint32_data << 8) | received_data[41];
            int_data2 = (int32_t)uint32_data;

            uint8_t battery_soc = received_data[45];

            // USB send data
            usb_send_data[1] = 33;
            appendCRC8CheckSum(usb_send_data, 4);
            usb_send_data[4] = 0x02; // Command Number
            usb_send_data[5] = usb_command_counter[usb_send_data[4] - 1]; // Command Counter
            usb_command_counter[usb_send_data[4] - 1]++;
            int idx = 6;
            for(int i=21;i<45;i++)
            {
            	usb_send_data[idx] = received_data[i];
            	idx++;
            }
            usb_send_data[30] = battery_soc;
            usb_send_data[31] = 0;
            usb_send_data[32] = 0;
            appendCRC16CheckSum(usb_send_data, 33);
          }

          // Counter
          if (received_data[1] == 0x39 && received_data[4] == 0x03 && received_data[5] == 0x0A)
          {
            uint32_t counter = 0;
            counter = (received_data[14] & 0x0F) * 10000;
            counter += (received_data[15] & 0x0F) * 1000;
            counter += (received_data[16] & 0x0F) * 100;
            counter += (received_data[17] & 0x0F) * 10;
            counter += (received_data[18] & 0x0F) * 1;
          }

          // Odometry Lab Mode Data
          if (received_data[1] == 0x6F && received_data[4] == 0x03 && received_data[5] == 0x09)
          {
            // Odom in Lab mode
            uint32_t data;
            int32_t int_data;
            uint16_t data16;
            int16_t int_data16;

            int16_t wheel_angular_velocity[4];

            data = received_data[16];
            data = (data << 8) | received_data[15];
            data = (data << 8) | received_data[14];
            data = (data << 8) | received_data[13];
            uint32_t odom_counter = (int32_t)data;

            data = received_data[20];
            data = (data << 8) | received_data[19];
            data = (data << 8) | received_data[18];
            data = (data << 8) | received_data[17];
            uint32_t odom_counter2 = (int32_t)data;

            // Wheel Angular Velocity
            // Unit is RPM
            data16 = received_data[22];
            data16 = (data16 << 8) | received_data[21];
            wheel_angular_velocity[0] = (int16_t)data16;

            data16 = received_data[24];
            data16 = (data16 << 8) | received_data[23];
            wheel_angular_velocity[1] = (int16_t)data16;

            data16 = received_data[26];
            data16 = (data16 << 8) | received_data[25];
            wheel_angular_velocity[2] = (int16_t)data16;

            data16 = received_data[28];
            data16 = (data16 << 8) | received_data[27];
            wheel_angular_velocity[3] = (int16_t)data16;

            float wheel_angle[4];
            // wheel position
            data16 = received_data[30];
            data16 = (data16 << 8) | received_data[29];
            data16 = data16 << 1;
            int_data16 = (int16_t)data16;
            wheel_angle[0] = int_data16 / 32767.0 * 180.0;

            data16 = received_data[32];
            data16 = (data16 << 8) | received_data[31];
            data16 = data16 << 1;
            int_data16 = (int16_t)data16;
            wheel_angle[1] = int_data16 / 32767.0 * 180.0;

            data16 = received_data[34];
            data16 = (data16 << 8) | received_data[33];
            data16 = data16 << 1;
            int_data16 = (int16_t)data16;
            wheel_angle[2] = int_data16 / 32767.0 * 180.0;

            data16 = received_data[36];
            data16 = (data16 << 8) | received_data[35];
            data16 = data16 << 1;
            int_data16 = (int16_t)data16;
            wheel_angle[3] = int_data16 / 32767.0 * 180.0;

            uint32_t m_bus_update_count[4];
            // wheel update count
            data = received_data[40];
            data = (data << 8) | received_data[39];
            data = (data << 8) | received_data[38];
            data = (data << 8) | received_data[37];
            m_bus_update_count[0] = (uint32_t)data;

            data = received_data[44];
            data = (data << 8) | received_data[43];
            data = (data << 8) | received_data[42];
            data = (data << 8) | received_data[41];
            m_bus_update_count[1] = (uint32_t)data;

            data = received_data[48];
            data = (data << 8) | received_data[47];
            data = (data << 8) | received_data[46];
            data = (data << 8) | received_data[45];
            m_bus_update_count[2] = (uint32_t)data;

            data = received_data[52];
            data = (data << 8) | received_data[51];
            data = (data << 8) | received_data[50];
            data = (data << 8) | received_data[49];
            m_bus_update_count[3] = (uint32_t)data;

            // IMU Data
            float_uint8 union_data;

            float mag_x;
            float mag_y;
            float g_x;
            float g_y;
            float g_z;
            float gyro_x;
            float gyro_y;
            float gyro_z;
            float roll, pitch, yaw;

            union_data.uint8_data[0] = received_data[53 + 4];
            union_data.uint8_data[1] = received_data[54 + 4];
            union_data.uint8_data[2] = received_data[55 + 4];
            union_data.uint8_data[3] = received_data[56 + 4];
            mag_x = union_data.float_data;

            union_data.uint8_data[0] = received_data[53 + 4 * 2];
            union_data.uint8_data[1] = received_data[54 + 4 * 2];
            union_data.uint8_data[2] = received_data[55 + 4 * 2];
            union_data.uint8_data[3] = received_data[56 + 4 * 2];
            mag_y = union_data.float_data;

            // mag_z is blank

            union_data.uint8_data[0] = received_data[53 + 4 * 4];
            union_data.uint8_data[1] = received_data[54 + 4 * 4];
            union_data.uint8_data[2] = received_data[55 + 4 * 4];
            union_data.uint8_data[3] = received_data[56 + 4 * 4];
            g_x = union_data.float_data;

            union_data.uint8_data[0] = received_data[53 + 4 * 5];
            union_data.uint8_data[1] = received_data[54 + 4 * 5];
            union_data.uint8_data[2] = received_data[55 + 4 * 5];
            union_data.uint8_data[3] = received_data[56 + 4 * 5];
            g_y = union_data.float_data;

            union_data.uint8_data[0] = received_data[53 + 4 * 6];
            union_data.uint8_data[1] = received_data[54 + 4 * 6];
            union_data.uint8_data[2] = received_data[55 + 4 * 6];
            union_data.uint8_data[3] = received_data[56 + 4 * 6];
            g_z = union_data.float_data;

            union_data.uint8_data[0] = received_data[53 + 4 * 7];
            union_data.uint8_data[1] = received_data[54 + 4 * 7];
            union_data.uint8_data[2] = received_data[55 + 4 * 7];
            union_data.uint8_data[3] = received_data[56 + 4 * 7];
            gyro_x = union_data.float_data;

            union_data.uint8_data[0] = received_data[53 + 4 * 8];
            union_data.uint8_data[1] = received_data[54 + 4 * 8];
            union_data.uint8_data[2] = received_data[55 + 4 * 8];
            union_data.uint8_data[3] = received_data[56 + 4 * 8];
            gyro_y = union_data.float_data;

            union_data.uint8_data[0] = received_data[53 + 4 * 9];
            union_data.uint8_data[1] = received_data[54 + 4 * 9];
            union_data.uint8_data[2] = received_data[55 + 4 * 9];
            union_data.uint8_data[3] = received_data[56 + 4 * 9];
            gyro_z = union_data.float_data;

            union_data.uint8_data[0] = received_data[53 + 4 * 11];
            union_data.uint8_data[1] = received_data[54 + 4 * 11];
            union_data.uint8_data[2] = received_data[55 + 4 * 11];
            union_data.uint8_data[3] = received_data[56 + 4 * 11];
            yaw = union_data.float_data;

            union_data.uint8_data[0] = received_data[53 + 4 * 12];
            union_data.uint8_data[1] = received_data[54 + 4 * 12];
            union_data.uint8_data[2] = received_data[55 + 4 * 12];
            union_data.uint8_data[3] = received_data[56 + 4 * 12];
            pitch = union_data.float_data;

            union_data.uint8_data[0] = received_data[53 + 4 * 13];
            union_data.uint8_data[1] = received_data[54 + 4 * 13];
            union_data.uint8_data[2] = received_data[55 + 4 * 13];
            union_data.uint8_data[3] = received_data[56 + 4 * 13];
            roll = union_data.float_data;

            // USB send data
            usb_send_data[1] = 92;
            appendCRC8CheckSum(usb_send_data, 4);
            usb_send_data[4] = 0x03; // Command Number
            usb_send_data[5] = usb_command_counter[usb_send_data[4] - 1]; // Command Counter
            usb_command_counter[usb_send_data[4] - 1]++;
            int idx = 6;
            for(int i=21;i<37;i++)
            {
            	usb_send_data[idx] = received_data[i];
            	idx++;
            }

            idx = 22;
            for(int i=37;i<53;i++)
            {
            	usb_send_data[idx] = received_data[i];
            	idx++;
            }

            idx = 38;
            for(int i=57;i<109;i++)
            {
            	usb_send_data[idx] = received_data[i];
            	idx++;
            }
            usb_send_data[90] = 0;
            usb_send_data[91] = 0;
            appendCRC16CheckSum(usb_send_data, 92);
          }

          break;
        }

        // Gimbal Output Data
        case ID_0x203: //0x203
        {
          // From Gimbal
          if (received_data[1] == 0x11 && received_data[4] == 0x04 && received_data[5] == 0x03)
          {
            // Yaw Angle
            uint16_t data = received_data[12];
            data = (data << 8) | received_data[11];
            gimbal_base_yaw_angle = -(int16_t)(data) / 10.0;
            data = received_data[14];
            data = (data << 8) | received_data[13];
            gimbal_map_yaw_angle = -(int16_t)(data) / 100.0;

            //printf("%lf, %lf\n",gimbal_base_yaw_angle_,gimbal_map_yaw_angle_);

            // USB send data
            usb_send_data[1] = 16;
            appendCRC8CheckSum(usb_send_data, 4);
            usb_send_data[4] = 0x04; // Command Number
            usb_send_data[5] = usb_command_counter[usb_send_data[4] - 1]; // Command Counter
            usb_command_counter[usb_send_data[4] - 1]++;
            float_uint8 gimbal_base_yaw_angle_float_uint8;
            float_uint8 gimbal_map_yaw_angle_float_uint8;
            gimbal_base_yaw_angle_float_uint8.float_data = gimbal_base_yaw_angle;
            usb_send_data[6] = gimbal_base_yaw_angle_float_uint8.uint8_data[0];
            usb_send_data[7] = gimbal_base_yaw_angle_float_uint8.uint8_data[1];
            usb_send_data[8] = gimbal_base_yaw_angle_float_uint8.uint8_data[2];
            usb_send_data[9] = gimbal_base_yaw_angle_float_uint8.uint8_data[3];
            gimbal_map_yaw_angle_float_uint8.float_data = gimbal_map_yaw_angle;
            usb_send_data[10] = gimbal_map_yaw_angle_float_uint8.uint8_data[0];
            usb_send_data[11] = gimbal_map_yaw_angle_float_uint8.uint8_data[1];
            usb_send_data[12] = gimbal_map_yaw_angle_float_uint8.uint8_data[2];
            usb_send_data[13] = gimbal_map_yaw_angle_float_uint8.uint8_data[3];
            usb_send_data[14] = 0;
            usb_send_data[15] = 0;
            appendCRC16CheckSum(usb_send_data, 16);
          }
          if (received_data[1] == 0x16 && received_data[4] == 0x04 && received_data[5] == 0x09)
          {
            // Pitch Angle
            uint32_t data = received_data[14];
            data = (data << 8) | received_data[13];
            data = (data << 8) | received_data[12];
            data = (data << 8) | received_data[11];
            gimbal_map_pitch_angle = (int32_t)(data) / 20000000.0 * 30.0;
            data = received_data[18];
            data = (data << 8) | received_data[17];
            data = (data << 8) | received_data[16];
            data = (data << 8) | received_data[15];
            gimbal_base_pitch_angle = (int32_t)(data) / 20000000.0 * 30.0;
            //printf("%lf, %lf\n", gimbal_map_pitch_angle_, gimbal_base_pitch_angle_);

            // USB send data
            usb_send_data[1] = 16;
            appendCRC8CheckSum(usb_send_data, 4);
            usb_send_data[4] = 0x05; // Command Number
            usb_send_data[5] = usb_command_counter[usb_send_data[4] - 1]; // Command Counter
            usb_command_counter[usb_send_data[4] - 1]++;
            float_uint8 gimbal_base_pitch_angle_float_uint8;
            float_uint8 gimbal_map_pitch_angle_float_uint8;
            gimbal_base_pitch_angle_float_uint8.float_data = gimbal_base_pitch_angle;
            usb_send_data[6] = gimbal_base_pitch_angle_float_uint8.uint8_data[0];
            usb_send_data[7] = gimbal_base_pitch_angle_float_uint8.uint8_data[1];
            usb_send_data[8] = gimbal_base_pitch_angle_float_uint8.uint8_data[2];
            usb_send_data[9] = gimbal_base_pitch_angle_float_uint8.uint8_data[3];
            gimbal_map_pitch_angle_float_uint8.float_data = gimbal_map_pitch_angle;
            usb_send_data[10] = gimbal_map_pitch_angle_float_uint8.uint8_data[0];
            usb_send_data[11] = gimbal_map_pitch_angle_float_uint8.uint8_data[1];
            usb_send_data[12] = gimbal_map_pitch_angle_float_uint8.uint8_data[2];
            usb_send_data[13] = gimbal_map_pitch_angle_float_uint8.uint8_data[3];
            usb_send_data[14] = 0;
            usb_send_data[15] = 0;
            appendCRC16CheckSum(usb_send_data, 16);
          }
          break;
        }
        case ID_0x204: //0x204
        {
          if (received_data[4] == 0x17 && received_data[5] == 0x09)
          {
          }
          break;
        }
        default:
          break;
        }

        if(usb_send_data[4] != 0x00){ // Command Number
          //while (
          CDC_Transmit_FS((uint8_t *)usb_send_data, usb_send_data[1]);// == USBD_BUSY)
        }
        break;
      }
    }

    // Receive Command from USB
    uint8_t usb_received_data[BUFFER_SIZE];
    uint16_t usb_received_data_size = 0;
    uint8_t usb_parsed_data[255];
    uint8_t usb_parsed_data_size = 0;
    while (usb_rBuf_rp != usb_rBuf_wp)
    {
      usb_received_data[usb_received_data_size] = usb_rBuf[usb_rBuf_rp];
      usb_received_data_size++;
      usb_rBuf_rp++;
      usb_rBuf_rp %= BUFFER_SIZE;
    }
    ret = parseUsbData(usb_received_data, usb_received_data_size, usb_parsed_data, &usb_parsed_data_size);
    if(ret && usb_parsed_data_size > 7)
    {
      if (usb_parsed_data[4] == 0x01) // Twist command No.
      {
        twist received_twist;
        int ret = parseTwistCommandData(usb_parsed_data, usb_parsed_data_size, &received_twist);
        if (ret)
        {
          command_twist = received_twist;
        }
      }
      if (usb_parsed_data[4] == 0x02) // Blaster command No.
      {
        int received_blaster;
        received_blaster = parseBlasterCommandData(usb_parsed_data, usb_parsed_data_size);
        if (received_blaster)
        {
          command_blaster = received_blaster;
        }
      }
      if (usb_parsed_data[4] == 0x03) // Lose command No.
      {
        int received_lose;
        received_lose = parseLoseCommandData(usb_parsed_data, usb_parsed_data_size);
        if (received_lose)
        {
          command_lose = received_lose;
        }
      }
      if (usb_parsed_data[4] == 0x04) // LED command No.
      {
        led received_led;
        int ret = parseLEDCommandData(usb_parsed_data, usb_parsed_data_size, &received_led);
        if (ret)
        {
          command_led = received_led;
        }
      }
    }

    // Transmit CAN Command
    while (can_command_buffer_rp != can_command_buffer_wp &&
        HAL_CAN_GetTxMailboxesFreeLevel(&hcan1) != 2)
    {
      uint8_t TxData[8];
      CAN_TxHeaderTypeDef TxHeader;
      uint32_t TxMailbox;

      int can_command_buffer_size = (can_command_buffer_wp - can_command_buffer_rp + BUFFER_SIZE) % BUFFER_SIZE;
      if (can_command_buffer_size >= 8)
      {
        TxHeader.DLC = 8;
      }
      else
      {
        TxHeader.DLC = can_command_buffer_size;
      }
      TxHeader.StdId = 0x201; //RxHeader.StdId;
      TxHeader.ExtId = 0x00;  //RxHeader.ExtId;
      TxHeader.RTR = CAN_RTR_DATA;
      TxHeader.IDE = CAN_ID_STD;
      TxHeader.TransmitGlobalTime = DISABLE;
      for (i = 0; i < TxHeader.DLC; i++)
      {
        TxData[i] = can_command_buffer[(can_command_buffer_rp + i) % BUFFER_SIZE];
      }
      // Start Transmission process
      int ret = HAL_CAN_AddTxMessage(&hcan1, &TxHeader, TxData, &TxMailbox);
      if (ret == HAL_OK)
      {
        can_command_buffer_rp += TxHeader.DLC;
        can_command_buffer_rp %= BUFFER_SIZE;
      }
    }

    /* USER CODE END WHILE */

  }
}

void SystemClock_Config(void)
{
  RCC_OscInitTypeDef RCC_OscInitStruct = {0};
  RCC_ClkInitTypeDef RCC_ClkInitStruct = {0};

  /** Configure the main internal regulator output voltage
  */
  __HAL_RCC_PWR_CLK_ENABLE();
  __HAL_PWR_VOLTAGESCALING_CONFIG(PWR_REGULATOR_VOLTAGE_SCALE1);
  /** Initializes the CPU, AHB and APB busses clocks
  */
  RCC_OscInitStruct.OscillatorType = RCC_OSCILLATORTYPE_HSE;
  RCC_OscInitStruct.HSEState = RCC_HSE_ON;
  RCC_OscInitStruct.PLL.PLLState = RCC_PLL_ON;
  RCC_OscInitStruct.PLL.PLLSource = RCC_PLLSOURCE_HSE;
  RCC_OscInitStruct.PLL.PLLM = 16;
  RCC_OscInitStruct.PLL.PLLN = 336;
  RCC_OscInitStruct.PLL.PLLP = RCC_PLLP_DIV2;
  RCC_OscInitStruct.PLL.PLLQ = 7;
  if (HAL_RCC_OscConfig(&RCC_OscInitStruct) != HAL_OK)
  {
    Error_Handler();
  }
  /** Initializes the CPU, AHB and APB busses clocks
  */
  RCC_ClkInitStruct.ClockType = RCC_CLOCKTYPE_HCLK|RCC_CLOCKTYPE_SYSCLK
                              |RCC_CLOCKTYPE_PCLK1|RCC_CLOCKTYPE_PCLK2;
  RCC_ClkInitStruct.SYSCLKSource = RCC_SYSCLKSOURCE_PLLCLK;
  RCC_ClkInitStruct.AHBCLKDivider = RCC_SYSCLK_DIV1;
  RCC_ClkInitStruct.APB1CLKDivider = RCC_HCLK_DIV4;
  RCC_ClkInitStruct.APB2CLKDivider = RCC_HCLK_DIV2;

  if (HAL_RCC_ClockConfig(&RCC_ClkInitStruct, FLASH_LATENCY_5) != HAL_OK)
  {
    Error_Handler();
  }
}

static void MX_ADC1_Init(void)
{

  ADC_ChannelConfTypeDef sConfig = {0};

  /** Configure the global features of the ADC (Clock, Resolution, Data Alignment and number of conversion)
  */
  hadc1.Instance = ADC1;
  hadc1.Init.ClockPrescaler = ADC_CLOCK_SYNC_PCLK_DIV4;
  hadc1.Init.Resolution = ADC_RESOLUTION_12B;
  hadc1.Init.ScanConvMode = DISABLE;
  hadc1.Init.ContinuousConvMode = DISABLE;
  hadc1.Init.DiscontinuousConvMode = DISABLE;
  hadc1.Init.ExternalTrigConvEdge = ADC_EXTERNALTRIGCONVEDGE_NONE;
  hadc1.Init.ExternalTrigConv = ADC_SOFTWARE_START;
  hadc1.Init.DataAlign = ADC_DATAALIGN_RIGHT;
  hadc1.Init.NbrOfConversion = 1;
  hadc1.Init.DMAContinuousRequests = DISABLE;
  hadc1.Init.EOCSelection = ADC_EOC_SINGLE_CONV;
  if (HAL_ADC_Init(&hadc1) != HAL_OK)
  {
    Error_Handler();
  }
  /** Configure for the selected ADC regular channel its corresponding rank in the sequencer and its sample time.
  */
  sConfig.Channel = ADC_CHANNEL_10;
  sConfig.Rank = 1;
  sConfig.SamplingTime = ADC_SAMPLETIME_3CYCLES;
  if (HAL_ADC_ConfigChannel(&hadc1, &sConfig) != HAL_OK)
  {
    Error_Handler();
  }

}

static void MX_ADC2_Init(void)
{

  ADC_ChannelConfTypeDef sConfig = {0};

  /** Configure the global features of the ADC (Clock, Resolution, Data Alignment and number of conversion)
  */
  hadc2.Instance = ADC2;
  hadc2.Init.ClockPrescaler = ADC_CLOCK_SYNC_PCLK_DIV4;
  hadc2.Init.Resolution = ADC_RESOLUTION_12B;
  hadc2.Init.ScanConvMode = DISABLE;
  hadc2.Init.ContinuousConvMode = DISABLE;
  hadc2.Init.DiscontinuousConvMode = DISABLE;
  hadc2.Init.ExternalTrigConvEdge = ADC_EXTERNALTRIGCONVEDGE_NONE;
  hadc2.Init.ExternalTrigConv = ADC_SOFTWARE_START;
  hadc2.Init.DataAlign = ADC_DATAALIGN_RIGHT;
  hadc2.Init.NbrOfConversion = 1;
  hadc2.Init.DMAContinuousRequests = DISABLE;
  hadc2.Init.EOCSelection = ADC_EOC_SINGLE_CONV;
  if (HAL_ADC_Init(&hadc2) != HAL_OK)
  {
    Error_Handler();
  }
  /** Configure for the selected ADC regular channel its corresponding rank in the sequencer and its sample time.
  */
  sConfig.Channel = ADC_CHANNEL_1;
  sConfig.Rank = 1;
  sConfig.SamplingTime = ADC_SAMPLETIME_3CYCLES;
  if (HAL_ADC_ConfigChannel(&hadc2, &sConfig) != HAL_OK)
  {
    Error_Handler();
  }

}

static void MX_ADC3_Init(void)
{

  ADC_ChannelConfTypeDef sConfig = {0};

  /** Configure the global features of the ADC (Clock, Resolution, Data Alignment and number of conversion)
  */
  hadc3.Instance = ADC3;
  hadc3.Init.ClockPrescaler = ADC_CLOCK_SYNC_PCLK_DIV4;
  hadc3.Init.Resolution = ADC_RESOLUTION_12B;
  hadc3.Init.ScanConvMode = DISABLE;
  hadc3.Init.ContinuousConvMode = DISABLE;
  hadc3.Init.DiscontinuousConvMode = DISABLE;
  hadc3.Init.ExternalTrigConvEdge = ADC_EXTERNALTRIGCONVEDGE_NONE;
  hadc3.Init.ExternalTrigConv = ADC_SOFTWARE_START;
  hadc3.Init.DataAlign = ADC_DATAALIGN_RIGHT;
  hadc3.Init.NbrOfConversion = 1;
  hadc3.Init.DMAContinuousRequests = DISABLE;
  hadc3.Init.EOCSelection = ADC_EOC_SINGLE_CONV;
  if (HAL_ADC_Init(&hadc3) != HAL_OK)
  {
    Error_Handler();
  }
  /** Configure for the selected ADC regular channel its corresponding rank in the sequencer and its sample time.
  */
  sConfig.Channel = ADC_CHANNEL_2;
  sConfig.Rank = 1;
  sConfig.SamplingTime = ADC_SAMPLETIME_3CYCLES;
  if (HAL_ADC_ConfigChannel(&hadc3, &sConfig) != HAL_OK)
  {
    Error_Handler();
  }

}

static void MX_CAN1_Init(void)
{

  hcan1.Instance = CAN1;
  hcan1.Init.Prescaler = 3;
  hcan1.Init.Mode = CAN_MODE_NORMAL;
  hcan1.Init.SyncJumpWidth = CAN_SJW_1TQ;
  hcan1.Init.TimeSeg1 = CAN_BS1_11TQ;
  hcan1.Init.TimeSeg2 = CAN_BS2_2TQ;
  hcan1.Init.TimeTriggeredMode = DISABLE;
  hcan1.Init.AutoBusOff = DISABLE;
  hcan1.Init.AutoWakeUp = DISABLE;
  hcan1.Init.AutoRetransmission = DISABLE;
  hcan1.Init.ReceiveFifoLocked = DISABLE;
  hcan1.Init.TransmitFifoPriority = DISABLE;
  if (HAL_CAN_Init(&hcan1) != HAL_OK)
  {
    Error_Handler();
  }

}

static void MX_CAN2_Init(void)
{

  hcan2.Instance = CAN2;
  hcan2.Init.Prescaler = 3;
  hcan2.Init.Mode = CAN_MODE_NORMAL;
  hcan2.Init.SyncJumpWidth = CAN_SJW_1TQ;
  hcan2.Init.TimeSeg1 = CAN_BS1_13TQ;
  hcan2.Init.TimeSeg2 = CAN_BS2_2TQ;
  hcan2.Init.TimeTriggeredMode = DISABLE;
  hcan2.Init.AutoBusOff = DISABLE;
  hcan2.Init.AutoWakeUp = DISABLE;
  hcan2.Init.AutoRetransmission = DISABLE;
  hcan2.Init.ReceiveFifoLocked = DISABLE;
  hcan2.Init.TransmitFifoPriority = DISABLE;
  if (HAL_CAN_Init(&hcan2) != HAL_OK)
  {
    Error_Handler();
  }

}

static void MX_I2C2_Init(void)
{

  hi2c2.Instance = I2C2;
  hi2c2.Init.ClockSpeed = 100000;
  hi2c2.Init.DutyCycle = I2C_DUTYCYCLE_2;
  hi2c2.Init.OwnAddress1 = 0;
  hi2c2.Init.AddressingMode = I2C_ADDRESSINGMODE_7BIT;
  hi2c2.Init.DualAddressMode = I2C_DUALADDRESS_DISABLE;
  hi2c2.Init.OwnAddress2 = 0;
  hi2c2.Init.GeneralCallMode = I2C_GENERALCALL_DISABLE;
  hi2c2.Init.NoStretchMode = I2C_NOSTRETCH_DISABLE;
  if (HAL_I2C_Init(&hi2c2) != HAL_OK)
  {
    Error_Handler();
  }

}

static void MX_SPI1_Init(void)
{

  /* SPI1 parameter configuration*/
  hspi1.Instance = SPI1;
  hspi1.Init.Mode = SPI_MODE_MASTER;
  hspi1.Init.Direction = SPI_DIRECTION_2LINES;
  hspi1.Init.DataSize = SPI_DATASIZE_8BIT;
  hspi1.Init.CLKPolarity = SPI_POLARITY_LOW;
  hspi1.Init.CLKPhase = SPI_PHASE_1EDGE;
  hspi1.Init.NSS = SPI_NSS_HARD_OUTPUT;
  hspi1.Init.BaudRatePrescaler = SPI_BAUDRATEPRESCALER_2;
  hspi1.Init.FirstBit = SPI_FIRSTBIT_MSB;
  hspi1.Init.TIMode = SPI_TIMODE_DISABLE;
  hspi1.Init.CRCCalculation = SPI_CRCCALCULATION_DISABLE;
  hspi1.Init.CRCPolynomial = 10;
  if (HAL_SPI_Init(&hspi1) != HAL_OK)
  {
    Error_Handler();
  }

}

static void MX_TIM2_Init(void)
{

  TIM_ClockConfigTypeDef sClockSourceConfig = {0};
  TIM_MasterConfigTypeDef sMasterConfig = {0};

  htim2.Instance = TIM2;
  htim2.Init.Prescaler = 84-1;
  htim2.Init.CounterMode = TIM_COUNTERMODE_UP;
  htim2.Init.Period = 10000;
  htim2.Init.ClockDivision = TIM_CLOCKDIVISION_DIV1;
  htim2.Init.AutoReloadPreload = TIM_AUTORELOAD_PRELOAD_DISABLE;
  if (HAL_TIM_Base_Init(&htim2) != HAL_OK)
  {
    Error_Handler();
  }
  sClockSourceConfig.ClockSource = TIM_CLOCKSOURCE_INTERNAL;
  if (HAL_TIM_ConfigClockSource(&htim2, &sClockSourceConfig) != HAL_OK)
  {
    Error_Handler();
  }
  sMasterConfig.MasterOutputTrigger = TIM_TRGO_RESET;
  sMasterConfig.MasterSlaveMode = TIM_MASTERSLAVEMODE_DISABLE;
  if (HAL_TIMEx_MasterConfigSynchronization(&htim2, &sMasterConfig) != HAL_OK)
  {
    Error_Handler();
  }

}

static void MX_TIM3_Init(void)
{

  TIM_ClockConfigTypeDef sClockSourceConfig = {0};
  TIM_MasterConfigTypeDef sMasterConfig = {0};
  TIM_OC_InitTypeDef sConfigOC = {0};

  htim3.Instance = TIM3;
  htim3.Init.Prescaler = 0;
  htim3.Init.CounterMode = TIM_COUNTERMODE_UP;
  htim3.Init.Period = 0;
  htim3.Init.ClockDivision = TIM_CLOCKDIVISION_DIV1;
  htim3.Init.AutoReloadPreload = TIM_AUTORELOAD_PRELOAD_DISABLE;
  if (HAL_TIM_Base_Init(&htim3) != HAL_OK)
  {
    Error_Handler();
  }
  sClockSourceConfig.ClockSource = TIM_CLOCKSOURCE_INTERNAL;
  if (HAL_TIM_ConfigClockSource(&htim3, &sClockSourceConfig) != HAL_OK)
  {
    Error_Handler();
  }
  if (HAL_TIM_PWM_Init(&htim3) != HAL_OK)
  {
    Error_Handler();
  }
  sMasterConfig.MasterOutputTrigger = TIM_TRGO_RESET;
  sMasterConfig.MasterSlaveMode = TIM_MASTERSLAVEMODE_DISABLE;
  if (HAL_TIMEx_MasterConfigSynchronization(&htim3, &sMasterConfig) != HAL_OK)
  {
    Error_Handler();
  }
  sConfigOC.OCMode = TIM_OCMODE_PWM1;
  sConfigOC.Pulse = 0;
  sConfigOC.OCPolarity = TIM_OCPOLARITY_HIGH;
  sConfigOC.OCFastMode = TIM_OCFAST_DISABLE;
  if (HAL_TIM_PWM_ConfigChannel(&htim3, &sConfigOC, TIM_CHANNEL_1) != HAL_OK)
  {
    Error_Handler();
  }
  if (HAL_TIM_PWM_ConfigChannel(&htim3, &sConfigOC, TIM_CHANNEL_2) != HAL_OK)
  {
    Error_Handler();
  }
  if (HAL_TIM_PWM_ConfigChannel(&htim3, &sConfigOC, TIM_CHANNEL_3) != HAL_OK)
  {
    Error_Handler();
  }
  if (HAL_TIM_PWM_ConfigChannel(&htim3, &sConfigOC, TIM_CHANNEL_4) != HAL_OK)
  {
    Error_Handler();
  }
  HAL_TIM_MspPostInit(&htim3);

}

static void MX_UART4_Init(void)
{

  huart4.Instance = UART4;
  huart4.Init.BaudRate = 115200;
  huart4.Init.WordLength = UART_WORDLENGTH_8B;
  huart4.Init.StopBits = UART_STOPBITS_1;
  huart4.Init.Parity = UART_PARITY_NONE;
  huart4.Init.Mode = UART_MODE_TX_RX;
  huart4.Init.HwFlowCtl = UART_HWCONTROL_NONE;
  huart4.Init.OverSampling = UART_OVERSAMPLING_16;
  if (HAL_UART_Init(&huart4) != HAL_OK)
  {
    Error_Handler();
  }

}

static void MX_USART1_UART_Init(void)
{

  huart1.Instance = USART1;
  huart1.Init.BaudRate = 115200;
  huart1.Init.WordLength = UART_WORDLENGTH_8B;
  huart1.Init.StopBits = UART_STOPBITS_1;
  huart1.Init.Parity = UART_PARITY_NONE;
  huart1.Init.Mode = UART_MODE_TX_RX;
  huart1.Init.HwFlowCtl = UART_HWCONTROL_NONE;
  huart1.Init.OverSampling = UART_OVERSAMPLING_16;
  if (HAL_UART_Init(&huart1) != HAL_OK)
  {
    Error_Handler();
  }

}

static void MX_GPIO_Init(void)
{
  GPIO_InitTypeDef GPIO_InitStruct = {0};

  /* GPIO Ports Clock Enable */
  __HAL_RCC_GPIOC_CLK_ENABLE();
  __HAL_RCC_GPIOH_CLK_ENABLE();
  __HAL_RCC_GPIOA_CLK_ENABLE();
  __HAL_RCC_GPIOB_CLK_ENABLE();

  /*Configure GPIO pin Output Level */
  HAL_GPIO_WritePin(GPIOC, LD2_Pin|LD1_Pin, GPIO_PIN_RESET);

  /*Configure GPIO pins : LD2_Pin LD1_Pin */
  GPIO_InitStruct.Pin = LD2_Pin|LD1_Pin;
  GPIO_InitStruct.Mode = GPIO_MODE_OUTPUT_PP;
  GPIO_InitStruct.Pull = GPIO_NOPULL;
  GPIO_InitStruct.Speed = GPIO_SPEED_FREQ_LOW;
  HAL_GPIO_Init(GPIOC, &GPIO_InitStruct);

  /*Configure GPIO pins : PC4 PC5 PC9 */
  GPIO_InitStruct.Pin = GPIO_PIN_4|GPIO_PIN_5|GPIO_PIN_9;
  GPIO_InitStruct.Mode = GPIO_MODE_IT_RISING;
  GPIO_InitStruct.Pull = GPIO_NOPULL;
  HAL_GPIO_Init(GPIOC, &GPIO_InitStruct);

  /*Configure GPIO pins : PB14 PB15 */
  GPIO_InitStruct.Pin = GPIO_PIN_14|GPIO_PIN_15;
  GPIO_InitStruct.Mode = GPIO_MODE_INPUT;
  GPIO_InitStruct.Pull = GPIO_NOPULL;
  HAL_GPIO_Init(GPIOB, &GPIO_InitStruct);

  /*Configure GPIO pin : PA8 */
  GPIO_InitStruct.Pin = GPIO_PIN_8;
  GPIO_InitStruct.Mode = GPIO_MODE_IT_RISING;
  GPIO_InitStruct.Pull = GPIO_NOPULL;
  HAL_GPIO_Init(GPIOA, &GPIO_InitStruct);

}

/* USER CODE BEGIN 4 */

/**
  * @brief  Configures the CAN.
  * @param  None
  * @retval None
  */
static void CAN_FilterConfig(void)
{
  CAN_FilterTypeDef sFilterConfig;

  /*## Configure the CAN Filter ###########################################*/
  sFilterConfig.FilterBank = 0; //ID 0-13 for CAN1, 14+ is CAN2
  sFilterConfig.FilterMode = CAN_FILTERMODE_IDMASK;
  sFilterConfig.FilterScale = CAN_FILTERSCALE_32BIT;
  sFilterConfig.FilterIdHigh = 0x0000;
  sFilterConfig.FilterIdLow = 0x0000;
  sFilterConfig.FilterMaskIdHigh = 0x0000;
  sFilterConfig.FilterMaskIdLow = 0x0000;
  sFilterConfig.FilterFIFOAssignment = CAN_RX_FIFO0;
  sFilterConfig.FilterActivation = ENABLE;
  sFilterConfig.SlaveStartFilterBank = 14;

  if (HAL_CAN_ConfigFilter(&hcan1, &sFilterConfig) != HAL_OK)
  {
    /* Filter configuration Error */
    Error_Handler();
  }
}

/**
  * @brief  Rx Fifo 0 message pending callback
  * @param  hcan: pointer to a CAN_HandleTypeDef structure that contains
  *         the configuration information for the specified CAN.
  * @retval None
  */
void HAL_CAN_RxFifo0MsgPendingCallback(CAN_HandleTypeDef *hcan)
{
  uint8_t RxData[8];
  CAN_RxHeaderTypeDef RxHeader;

  /* Get RX message */
  if (HAL_CAN_GetRxMessage(hcan, CAN_RX_FIFO0, &RxHeader, RxData) == HAL_OK)
  {
    if (RxHeader.StdId != 0x201)
    {
      CANRxMsg msg;
      switch (RxHeader.StdId)
      {
      case 0x202:
        msg.can_id = ID_0x202;
        break;
      case 0x203:
        msg.can_id = ID_0x203;
        break;
      case 0x204:
        msg.can_id = ID_0x204;
        break;
      case 0x211:
        msg.can_id = ID_0x211;
        break;
      case 0x212:
        msg.can_id = ID_0x212;
        break;
      case 0x213:
        msg.can_id = ID_0x213;
        break;
      case 0x214:
        msg.can_id = ID_0x214;
        break;
      case 0x215:
        msg.can_id = ID_0x215;
        break;
      case 0x216:
        msg.can_id = ID_0x216;
        break;
      }
      if (initial_task_flag)
      {
        msg.dlc = RxHeader.DLC;
        memcpy(msg.data, RxData, RxHeader.DLC);
        rx_msg_buffer[buffer_wp] = msg;
        buffer_wp++;
        buffer_wp %= BUFFER_SIZE;
      }
    }
  }
}

void HAL_CAN_RxFifo0FullCallback(CAN_HandleTypeDef *hcan)
{
  uint8_t RxData[8];
  CAN_RxHeaderTypeDef RxHeader;

  /* Get RX message */
  if (HAL_CAN_GetRxMessage(hcan, CAN_RX_FIFO0, &RxHeader, RxData) == HAL_OK)
  {
    if (RxHeader.StdId != 0x201)
    {
      CANRxMsg msg;
      switch (RxHeader.StdId)
      {
      case 0x202:
        msg.can_id = ID_0x202;
        break;
      case 0x203:
        msg.can_id = ID_0x203;
        break;
      case 0x204:
        msg.can_id = ID_0x204;
        break;
      case 0x211:
        msg.can_id = ID_0x211;
        break;
      case 0x212:
        msg.can_id = ID_0x212;
        break;
      case 0x213:
        msg.can_id = ID_0x213;
        break;
      case 0x214:
        msg.can_id = ID_0x214;
        break;
      case 0x215:
        msg.can_id = ID_0x215;
        break;
      case 0x216:
        msg.can_id = ID_0x216;
        break;
      }
      if (initial_task_flag)
      {
        msg.dlc = RxHeader.DLC;
        memcpy(msg.data, RxData, RxHeader.DLC);
        rx_msg_buffer[buffer_wp] = msg;
        buffer_wp++;
        buffer_wp %= BUFFER_SIZE;
      }
    }
  }
}

/* USER CODE END 4 */

void HAL_TIM_PeriodElapsedCallback(TIM_HandleTypeDef *htim)
{
  if (htim->Instance == TIM1) {
    HAL_IncTick();
  }
  /* USER CODE BEGIN Callback 1 */
  if (htim->Instance == TIM2)
  {
	timer1msec_flag = 1;
    // 10msec Timer
    timer10msec_counter++;
    timer10msec_flag = 1;

    // 10sec conter
    if (timer10msec_counter % 1000 == 0)
    {
      timer10sec_flag = 1;
    }

    // 1sec conter
    if (timer10msec_counter % 100 == 0)
    {
      timer1sec_flag = 1;
      HAL_GPIO_TogglePin(GPIOC, GPIO_PIN_12);
    }

    // 100msec counter
    if (timer10msec_counter % 10 == 0)
    {
      timer100msec_flag = 1;
      HAL_GPIO_TogglePin(GPIOC, GPIO_PIN_13);
    }
  }
  /* USER CODE END Callback 1 */
}

void Error_Handler(void)
{
}

/************************ (C) COPYRIGHT STMicroelectronics *****END OF FILE****/
